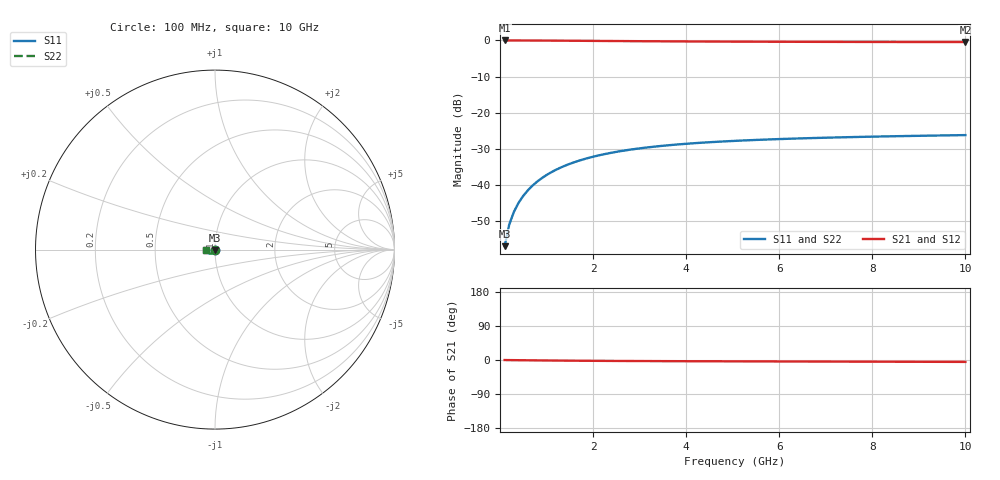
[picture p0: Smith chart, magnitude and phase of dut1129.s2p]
! Touchstone file exported from HFSS 2024.1.0
!  File:  C:/UserFiles/LocalFiles/RDL_TSV_Batchsim/temp_TSV1_1129_1780069908.aedt
!  Generated:  11:57:50 PM May 29, 2026
!  Design:  TSV1
!  Project:  temp_TSV1_1129_1780069908
!  Setup:  Setup1
!  Solution:  Sweep
! Variables:
!  dtsv = 12.41um
!  hbump = 3um
!  htsv = 76.99um
!  lrdl = 252.1521522um
!  p = 40
!  p1 = 54.9um
!  t = 500um
!  trdl = 3um
!  wrdl = 24.89489489um
# GHz S MA R 50.000000
! Terminal data exported
! Port[1] = TSV22_T1
! Port[2] = TSV22_T2
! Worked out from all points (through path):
!   100 points, 100 MHz to 10 GHz, reference 50 ohm
!   highest |S21| = 0.00 dB at 100 MHz (marker M1); lowest = -0.4 dB at 10 GHz (marker M2)
!   lowest |S11| = -56.9 dB at 100 MHz (marker M3), VSWR 1.00, Z = 50 - j0.142 ohm
!   |S11| at or under -10 dB: start of sweep to end of sweep
!   |S22| runs from -56.9 to -26.2 dB; largest |S21 - S12| = 3.8e-15
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0.1  0.001423 -88.2  0.9999 -0.1  0.9999 -0.1  0.001423 -88.2
! Gamma 0 0 0 0
! Port Impedance 50 0 50 0
0.2  0.002841 -91.8  0.9997 -0.3  0.9997 -0.3  0.002841 -91.8
0.3  0.004258 -94.2  0.9995 -0.4  0.9995 -0.4  0.004258 -94.2
0.4  0.005668 -96.3  0.9991 -0.5  0.9991 -0.5  0.005668 -96.3
0.5  0.007065 -98.3  0.9987 -0.7  0.9987 -0.7  0.007065 -98.3
0.6  0.008445 -100.3  0.9982 -0.8  0.9982 -0.8  0.008445 -100.3
0.7  0.009804 -102.2  0.9976 -0.9  0.9976 -0.9  0.009804 -102.2
0.8  0.01114 -104.1  0.997 -1.0  0.997 -1.0  0.01114 -104.1
0.9  0.01245 -106.0  0.9963 -1.1  0.9963 -1.1  0.01245 -106.0
1.1  0.01497 -109.5  0.9947 -1.4  0.9947 -1.4  0.01497 -109.5
1.4  0.0185 -114.6  0.992 -1.7  0.992 -1.7  0.0185 -114.6
1.6  0.02068 -117.8  0.9901 -1.8  0.9901 -1.8  0.02068 -117.8
1.8  0.02271 -120.9  0.9882 -2.0  0.9882 -2.0  0.02271 -120.9
2.1  0.02548 -125.2  0.9852 -2.2  0.9852 -2.2  0.02548 -125.2
2.5  0.02872 -130.5  0.9813 -2.5  0.9813 -2.5  0.02872 -130.5
2.9  0.03147 -135.2  0.9776 -2.7  0.9776 -2.7  0.03147 -135.2
3.4  0.03435 -140.5  0.9735 -2.9  0.9735 -2.9  0.03435 -140.5
4.2  0.03794 -147.7  0.9679 -3.3  0.9679 -3.3  0.03794 -147.7
5.1  0.04092 -154.4  0.9629 -3.6  0.9629 -3.6  0.04092 -154.4
6.7  0.04457 -163.9  0.9567 -4.0  0.9567 -4.0  0.04457 -163.9
8.4  0.04717 -171.9  0.9524 -4.5  0.9524 -4.5  0.04717 -171.9
10  0.049 -178.1  0.9497 -5.0  0.9497 -5.0  0.049 -178.1
